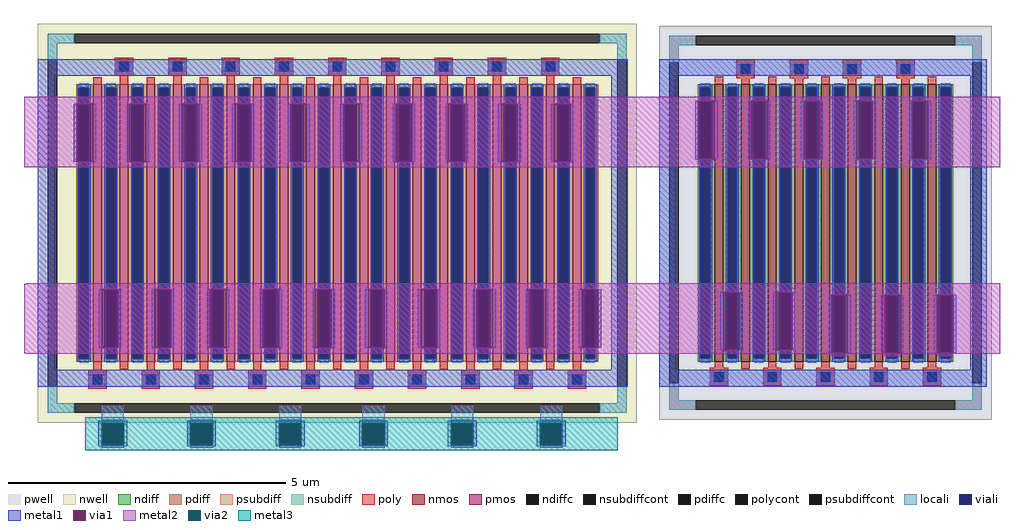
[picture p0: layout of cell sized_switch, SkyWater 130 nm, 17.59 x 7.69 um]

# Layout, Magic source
magic
tech sky130A
magscale 1 2
<< nwell >>
rect 1500 -990 1620 -970
rect 1820 -990 1940 -970
rect 2120 -990 2240 -970
rect 2440 -990 2560 -970
rect 2760 -990 2880 -970
<< locali >>
rect 1200 -990 1280 -930
rect 1520 -990 1600 -930
rect 1840 -990 1920 -930
rect 2140 -990 2220 -930
rect 2460 -990 2540 -930
rect 2780 -990 2860 -930
<< viali >>
rect 1200 -1070 1280 -990
rect 1520 -1070 1600 -990
rect 1840 -1070 1920 -990
rect 2140 -1070 2220 -990
rect 2460 -1070 2540 -990
rect 2780 -1070 2860 -990
<< metal1 >>
rect 970 260 3096 320
rect 970 -800 1030 260
rect 1100 -50 1110 160
rect 1170 -50 1180 160
rect 1290 -50 1300 160
rect 1360 -50 1370 160
rect 1480 -50 1490 160
rect 1550 -50 1560 160
rect 1670 -50 1680 160
rect 1740 -50 1750 160
rect 1870 -50 1880 160
rect 1940 -50 1950 160
rect 2060 -50 2070 160
rect 2130 -50 2140 160
rect 2250 -50 2260 160
rect 2320 -50 2330 160
rect 2440 -50 2450 160
rect 2510 -50 2520 160
rect 2630 -50 2640 160
rect 2700 -50 2710 160
rect 2820 -50 2830 160
rect 2890 -50 2900 160
rect 1190 -720 1200 -510
rect 1260 -720 1270 -510
rect 1380 -720 1390 -510
rect 1450 -720 1460 -510
rect 1580 -720 1590 -510
rect 1650 -720 1660 -510
rect 1770 -720 1780 -510
rect 1840 -720 1850 -510
rect 1960 -720 1970 -510
rect 2030 -720 2040 -510
rect 2150 -720 2160 -510
rect 2220 -720 2230 -510
rect 2340 -720 2350 -510
rect 2410 -720 2420 -510
rect 2540 -720 2550 -510
rect 2610 -720 2620 -510
rect 2730 -720 2740 -510
rect 2800 -720 2810 -510
rect 2920 -720 2930 -510
rect 2990 -720 3000 -510
rect 3036 -800 3096 260
rect 970 -860 3096 -800
rect 3210 260 4390 320
rect 3210 -800 3270 260
rect 3340 -40 3350 170
rect 3410 -40 3420 170
rect 3530 -40 3540 170
rect 3600 -40 3610 170
rect 3720 -40 3730 170
rect 3790 -40 3800 170
rect 3910 -40 3920 170
rect 3980 -40 3990 170
rect 4110 -40 4120 170
rect 4180 -40 4190 170
rect 3430 -730 3440 -520
rect 3500 -730 3510 -520
rect 3620 -730 3630 -520
rect 3690 -730 3700 -520
rect 3820 -740 3830 -530
rect 3890 -740 3900 -530
rect 4010 -740 4020 -530
rect 4080 -740 4090 -530
rect 4200 -740 4210 -530
rect 4270 -740 4280 -530
rect 4330 -800 4390 260
rect 3210 -860 4390 -800
rect 1188 -990 1292 -984
rect 1188 -1070 1200 -990
rect 1280 -1070 1292 -990
rect 1188 -1076 1292 -1070
rect 1508 -990 1612 -984
rect 1508 -1070 1520 -990
rect 1600 -1070 1612 -990
rect 1508 -1076 1612 -1070
rect 1828 -990 1932 -984
rect 1828 -1070 1840 -990
rect 1920 -1070 1932 -990
rect 1828 -1076 1932 -1070
rect 2128 -990 2232 -984
rect 2128 -1070 2140 -990
rect 2220 -1070 2232 -990
rect 2128 -1076 2232 -1070
rect 2448 -990 2552 -984
rect 2448 -1070 2460 -990
rect 2540 -1070 2552 -990
rect 2448 -1076 2552 -1070
rect 2768 -990 2872 -984
rect 2768 -1070 2780 -990
rect 2860 -1070 2872 -990
rect 2768 -1076 2872 -1070
<< via1 >>
rect 1110 -50 1170 160
rect 1300 -50 1360 160
rect 1490 -50 1550 160
rect 1680 -50 1740 160
rect 1880 -50 1940 160
rect 2070 -50 2130 160
rect 2260 -50 2320 160
rect 2450 -50 2510 160
rect 2640 -50 2700 160
rect 2830 -50 2890 160
rect 1200 -720 1260 -510
rect 1390 -720 1450 -510
rect 1590 -720 1650 -510
rect 1780 -720 1840 -510
rect 1970 -720 2030 -510
rect 2160 -720 2220 -510
rect 2350 -720 2410 -510
rect 2550 -720 2610 -510
rect 2740 -720 2800 -510
rect 2930 -720 2990 -510
rect 3350 -40 3410 170
rect 3540 -40 3600 170
rect 3730 -40 3790 170
rect 3920 -40 3980 170
rect 4120 -40 4180 170
rect 3440 -730 3500 -520
rect 3630 -730 3690 -520
rect 3830 -740 3890 -530
rect 4020 -740 4080 -530
rect 4210 -740 4270 -530
rect 1200 -1070 1280 -990
rect 1520 -1070 1600 -990
rect 1840 -1070 1920 -990
rect 2140 -1070 2220 -990
rect 2460 -1070 2540 -990
rect 2780 -1070 2860 -990
<< metal2 >>
rect 920 170 4438 184
rect 920 160 3350 170
rect 920 -50 1110 160
rect 1170 -50 1300 160
rect 1360 -50 1490 160
rect 1550 -50 1680 160
rect 1740 -50 1880 160
rect 1940 -50 2070 160
rect 2130 -50 2260 160
rect 2320 -50 2450 160
rect 2510 -50 2640 160
rect 2700 -50 2830 160
rect 2890 -40 3350 160
rect 3410 -40 3540 170
rect 3600 -40 3730 170
rect 3790 -40 3920 170
rect 3980 -40 4120 170
rect 4180 -40 4438 170
rect 2890 -50 4438 -40
rect 920 -70 4438 -50
rect 930 -490 4438 -488
rect 920 -510 4438 -490
rect 920 -720 1200 -510
rect 1260 -720 1390 -510
rect 1450 -720 1590 -510
rect 1650 -720 1780 -510
rect 1840 -720 1970 -510
rect 2030 -720 2160 -510
rect 2220 -720 2350 -510
rect 2410 -720 2550 -510
rect 2610 -720 2740 -510
rect 2800 -720 2930 -510
rect 2990 -520 4438 -510
rect 2990 -720 3440 -520
rect 920 -730 3440 -720
rect 3500 -730 3630 -520
rect 3690 -530 4438 -520
rect 3690 -730 3830 -530
rect 920 -740 3830 -730
rect 3890 -740 4020 -530
rect 4080 -740 4210 -530
rect 4270 -740 4438 -530
rect 930 -742 4438 -740
rect 3830 -750 3890 -742
rect 4020 -750 4080 -742
rect 4210 -750 4270 -742
rect 1200 -990 1280 -980
rect 1200 -1080 1280 -1070
rect 1520 -990 1600 -980
rect 1520 -1080 1600 -1070
rect 1840 -990 1920 -980
rect 1840 -1080 1920 -1070
rect 2140 -990 2220 -980
rect 2140 -1080 2220 -1070
rect 2460 -990 2540 -980
rect 2460 -1080 2540 -1070
rect 2780 -990 2860 -980
rect 2780 -1080 2860 -1070
<< via2 >>
rect 1200 -1070 1280 -990
rect 1520 -1070 1600 -990
rect 1840 -1070 1920 -990
rect 2140 -1070 2220 -990
rect 2460 -1070 2540 -990
rect 2780 -1070 2860 -990
<< metal3 >>
rect 1140 -990 3060 -970
rect 1140 -1070 1200 -990
rect 1280 -1070 1520 -990
rect 1600 -1070 1840 -990
rect 1920 -1070 2140 -990
rect 2220 -1070 2460 -990
rect 2540 -1070 2780 -990
rect 2860 -1070 3060 -990
rect 1140 -1090 3060 -1070
use sky130_fd_pr__pfet_01v8_BDZ9JN  XM1
transform 1 0 2049 0 1 -271
box -1079 -719 1079 719
use sky130_fd_pr__nfet_01v8_KBNS5F  sky130_fd_pr__nfet_01v8_KBNS5F_0
transform 1 0 3809 0 1 -270
box -599 -710 599 710
<< end >>

# cell sky130_fd_pr__pfet_01v8_BDZ9JN: kit device sky130_fd_pr__pfet_01v8, w 5.0 l 0.15 m 1 nf 19 diffcov 100 polycov 100 guard 1 glc 1 grc 1 gtc 1 gbc 1 tbcov 100 rlcov 100 topc 1 botc 1 poverlap 0 doverlap 1 lmin 0.15 wmin 0.42 compatible {sky130_fd_pr__pfet_01v8 sky130_fd_pr__pfet_01v8_lvt sky130_fd_pr__pfet_01v8_hvt sky130_fd_pr__pfet_g5v0d10v5} full_metal 1 viasrc 100 viadrn 100 viagate 100 viagb 0 viagr 0 viagl 0 viagt 0

# cell sky130_fd_pr__nfet_01v8_KBNS5F: kit device sky130_fd_pr__nfet_01v8, w 5.0 l 0.15 m 1 nf 9 diffcov 100 polycov 100 guard 1 glc 1 grc 1 gtc 1 gbc 1 tbcov 100 rlcov 100 topc 1 botc 1 poverlap 0 doverlap 1 lmin 0.15 wmin 0.42 compatible {sky130_fd_pr__nfet_01v8 sky130_fd_pr__nfet_01v8_lvt sky130_fd_bs_flash__special_sonosfet_star sky130_fd_pr__nfet_g5v0d10v5 sky130_fd_pr__nfet_05v0_nvt sky130_fd_pr__nfet_03v3_nvt} full_metal 1 viasrc 100 viadrn 100 viagate 100 viagb 0 viagr 0 viagl 0 viagt 0
